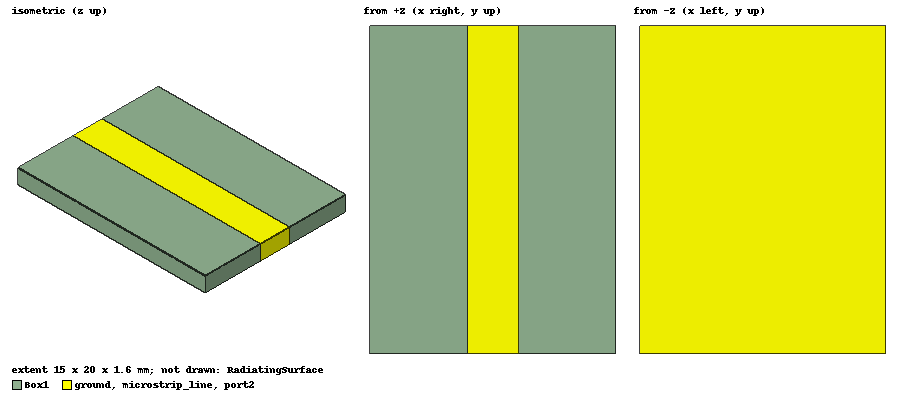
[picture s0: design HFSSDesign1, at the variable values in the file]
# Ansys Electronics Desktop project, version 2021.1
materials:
  vacuum: permittivity=1
  FR4_epoxy: permittivity=4.4 dielectric_loss_tangent=0.02

design HFSSDesign1 (HFSS, DrivenModal, model units mm)
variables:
  ws = 15mm
  ls = 20mm
  hs = 1.6mm
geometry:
  Box1 [FR4_epoxy] = box(corner=(0mm, 0mm, 0mm), size=(ws, ls, hs))
  ground = rectangle(corner=(15mm, 0mm, 0mm), x_size=-ws, y_size=ls)
  microstrip_line = rectangle(corner=(6mm, 0mm, hs), x_size=3.1mm, y_size=20mm)
  port1 = rectangle(corner=(6mm, 0mm, 1.6mm), z_size=-1.6mm, x_size=3.1mm)
  port2 = rectangle(corner=(9.1mm, 20mm, 1.6mm), z_size=-1.6mm, x_size=-3.1mm)
  RadiatingSurface [vacuum] = region(absolute_offset=33.333333mm on all sides)
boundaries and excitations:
  PerfE1: Perfect E Objects=[ground, microstrip_line]
  Open1: Radiation Objects=RadiatingSurface
  1: Lumped Port Objects=port1 Modes{Mode1{IntLine{port1.edge(z opposite corner) at 0.484 along -> middle of port1.edge(z at corner)} CharImp=Zpi RenormImp=50ohm}} Impedance=50ohm
  2: Lumped Port Objects=port2 Modes{Mode1{IntLine{middle of port2.edge(z opposite corner) -> middle of port2.edge(z at corner)} CharImp=Zpi RenormImp=50ohm}} Impedance=50ohm
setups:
  Setup1: HfssDrivenAuto AutoSolverSetting=Balanced SaveAnyFields=false Type=Interpolating
    sweep Sweep: 1GHz to 5GHz, 501 points;
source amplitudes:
  1:1: 1W 0deg
  2:1: 0W 0deg
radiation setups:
  3D: Infinite Sphere Theta=0deg..180deg step 2deg Phi=-180deg..180deg step 2deg
  Elevation: Infinite Sphere Theta=-180deg..180deg step 1deg Phi=0deg..90deg step 90deg
  Azimuth: Infinite Sphere Theta=90deg..90deg step 0deg Phi=-180deg..180deg step 1deg
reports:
  S Parameter Plot 1: dB(S(1,1)), dB(S(2,1)), dB(S(1,2)), dB(S(2,2)) vs Freq on Setup1 : Sweep; markers m1 at 2.24GHz, m2 at 4.264GHz, m3 at 4.288GHz
